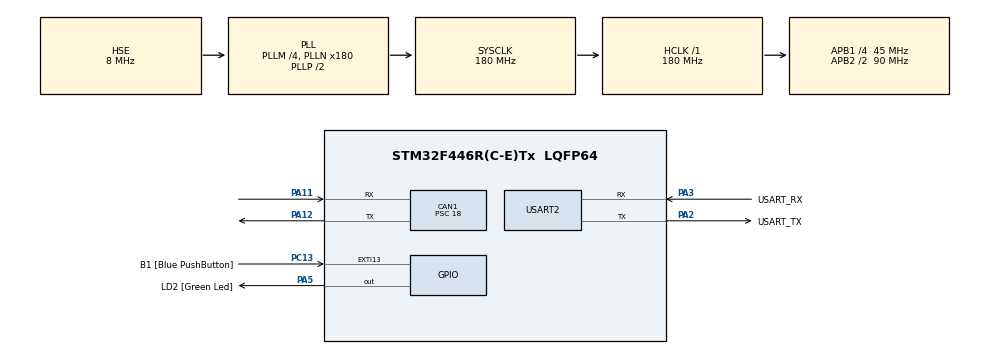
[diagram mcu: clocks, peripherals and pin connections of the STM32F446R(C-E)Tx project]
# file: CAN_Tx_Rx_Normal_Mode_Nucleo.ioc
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CAN1.BS1=CAN_BS1_2TQ
CAN1.BS2=CAN_BS2_2TQ
CAN1.CalculateBaudRate=500000
CAN1.CalculateTimeBit=2000
CAN1.CalculateTimeQuantum=400.0
CAN1.Prescaler=18
Mcu.Family=STM32F4
Mcu.Name=STM32F446R(C-E)Tx
Mcu.Package=LQFP64
NVIC.CAN1_RX0_IRQn=true\:0\:0\:false\:false\:true\:true\:true\:true
NVIC.CAN1_RX1_IRQn=true\:0\:0\:false\:false\:true\:true\:true\:true
NVIC.CAN1_TX_IRQn=true\:0\:0\:false\:false\:true\:true\:true\:true
NVIC.EXTI15_10_IRQn=true\:0\:0\:false\:false\:true\:true\:true\:true
NVIC.PriorityGroup=NVIC_PRIORITYGROUP_0
PA11.Mode=CAN_Activate
PA11.Signal=CAN1_RX
PA12.Mode=CAN_Activate
PA12.Signal=CAN1_TX
PA13.GPIO_Label=TMS
PA13.Mode=Serial_Wire
PA13.Signal=SYS_JTMS-SWDIO
PA14.GPIO_Label=TCK
PA14.Mode=Serial_Wire
PA14.Signal=SYS_JTCK-SWCLK
PA2.GPIO_Label=USART_TX
PA2.Mode=Asynchronous
PA2.Signal=USART2_TX
PA3.GPIO_Label=USART_RX
PA3.Mode=Asynchronous
PA3.Signal=USART2_RX
PA5.GPIO_Label=LD2 [Green Led]
PA5.Signal=GPIO_Output
PB3.GPIO_Label=SWO
PB3.Signal=SYS_JTDO-SWO
PC13.GPIO_Label=B1 [Blue PushButton]
PC13.GPIO_ModeDefaultEXTI=GPIO_MODE_IT_FALLING
PC13.Signal=GPXTI13
PC14-OSC32_IN.Mode=LSE-External-Oscillator
PC14-OSC32_IN.Signal=RCC_OSC32_IN
PC15-OSC32_OUT.Mode=LSE-External-Oscillator
PC15-OSC32_OUT.Signal=RCC_OSC32_OUT
PH0-OSC_IN.Mode=HSE-External-Oscillator
PH0-OSC_IN.Signal=RCC_OSC_IN
PH1-OSC_OUT.Mode=HSE-External-Oscillator
PH1-OSC_OUT.Signal=RCC_OSC_OUT
ProjectManager.HeapSize=0x200
ProjectManager.StackSize=0x400
ProjectManager.TargetToolchain=STM32CubeIDE
RCC.48MHZClocksFreq_Value=84000000
RCC.AHBFreq_Value=180000000
RCC.APB1CLKDivider=RCC_HCLK_DIV4
RCC.APB1Freq_Value=45000000
RCC.APB1TimFreq_Value=90000000
RCC.APB2CLKDivider=RCC_HCLK_DIV2
RCC.APB2Freq_Value=90000000
RCC.APB2TimFreq_Value=180000000
RCC.CortexFreq_Value=180000000
RCC.FLatency-AdvancedSettings=FLASH_LATENCY_5
RCC.HCLKFreq_Value=180000000
RCC.HSE_VALUE=8000000
RCC.HSI_VALUE=16000000
RCC.PLLM=4
RCC.PLLN=180
RCC.PLLSourceVirtual=RCC_PLLSOURCE_HSE
RCC.SYSCLKFreq_VALUE=180000000
RCC.SYSCLKSource=RCC_SYSCLKSOURCE_PLLCLK
RCC.USBFreq_Value=180000000
RCC.VCOOutputFreq_Value=360000000
USART2.VirtualMode=VM_ASYNC
board=NUCLEO-F446RE

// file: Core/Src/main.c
/* USER CODE BEGIN Header */
/**
  ******************************************************************************
  * @file           : main.c
  * @brief          : Main program body
  ******************************************************************************
  * @attention
  *
  * Copyright (c) 2025 STMicroelectronics.
  * All rights reserved.
  *
  * This software is licensed under terms that can be found in the LICENSE file
  * in the root directory of this software component.
  * If no LICENSE file comes with this software, it is provided AS-IS.
  *
  ******************************************************************************
  */
/* USER CODE END Header */
#include "main.h"

CAN_HandleTypeDef hcan1;

UART_HandleTypeDef huart2;

void SystemClock_Config(void);
static void MX_GPIO_Init(void);
static void MX_USART2_UART_Init(void);
static void MX_CAN1_Init(void);

/* USER CODE BEGIN 0 */
CAN_TxHeaderTypeDef TxHeader;
CAN_RxHeaderTypeDef RxHeader;

uint8_t TxData[8];
uint8_t RxData[8];

uint32_t TxMailbox;
int datacheck=0;

void HAL_CAN_RxFifo1FullCallback(CAN_HandleTypeDef *hcan)
{
    if (HAL_CAN_GetRxMessage(hcan, CAN_RX_FIFO1, &RxHeader, RxData) == HAL_OK)
    {
        datacheck = 1;  // Set flag only if the message is received successfully

    }
}
/* USER CODE END 0 */

int main(void)
{

  /* MCU Configuration--------------------------------------------------------*/

  /* Reset of all peripherals, Initializes the Flash interface and the Systick. */
  HAL_Init();

  /* Configure the system clock */
  SystemClock_Config();

  /* Initialize all configured peripherals */
  MX_GPIO_Init();
  MX_USART2_UART_Init();
  MX_CAN1_Init();
  /* USER CODE BEGIN 2 */
  HAL_CAN_Start(&hcan1); // Start CAN

  HAL_CAN_ActivateNotification(&hcan1, CAN_IT_RX_FIFO1_MSG_PENDING);

  TxHeader.DLC=1;  // Data length
  TxHeader.IDE=CAN_ID_STD;
  TxHeader.RTR=CAN_RTR_DATA;
  TxHeader.StdId=0x103;  // ID of this controller

  TxData[0]=50;// msg that being sent if we receive msg from 446

  /* USER CODE END 2 */

  /* Infinite loop */
  while (1)
  {

    /* USER CODE BEGIN 3 */

	  HAL_CAN_Start(&hcan1); // Start CAN

	    if(	HAL_CAN_AddTxMessage(&hcan1, &TxHeader, TxData, &TxMailbox) == HAL_OK){

	        datacheck = 0;  // Set flag only if the message is received successfully
	        HAL_GPIO_TogglePin(GPIOA, GPIO_PIN_5);  // Toggle LED
	        HAL_Delay(1000);  // Small delay for visibility
	        HAL_GPIO_TogglePin(GPIOA, GPIO_PIN_5);  // Toggle LED back
	        HAL_Delay(1000);

	    }

	  if(datacheck){

		        HAL_GPIO_TogglePin(GPIOA, GPIO_PIN_5);
		        HAL_Delay(100);
		        HAL_GPIO_TogglePin(GPIOA, GPIO_PIN_5);
		        HAL_Delay(100);

	    if(	HAL_CAN_AddTxMessage(&hcan1, &TxHeader, TxData, &TxMailbox) == HAL_OK){

	        datacheck = 0;  // Set flag only if the message is received successfully
	        HAL_GPIO_TogglePin(GPIOA, GPIO_PIN_5);  // Toggle LED
	        HAL_Delay(1000);  // Small delay for visibility
	        HAL_GPIO_TogglePin(GPIOA, GPIO_PIN_5);  // Toggle LED back
	        HAL_Delay(1000);

	    }

	    }
	  }

  /* USER CODE END 3 */
}

void SystemClock_Config(void)
{
  RCC_OscInitTypeDef RCC_OscInitStruct = {0};
  RCC_ClkInitTypeDef RCC_ClkInitStruct = {0};

  /** Configure the main internal regulator output voltage
  */
  __HAL_RCC_PWR_CLK_ENABLE();
  __HAL_PWR_VOLTAGESCALING_CONFIG(PWR_REGULATOR_VOLTAGE_SCALE1);

  /** Initializes the RCC Oscillators according to the specified parameters
  * in the RCC_OscInitTypeDef structure.
  */
  RCC_OscInitStruct.OscillatorType = RCC_OSCILLATORTYPE_HSE;
  RCC_OscInitStruct.HSEState = RCC_HSE_ON;
  RCC_OscInitStruct.PLL.PLLState = RCC_PLL_ON;
  RCC_OscInitStruct.PLL.PLLSource = RCC_PLLSOURCE_HSE;
  RCC_OscInitStruct.PLL.PLLM = 4;
  RCC_OscInitStruct.PLL.PLLN = 180;
  RCC_OscInitStruct.PLL.PLLP = RCC_PLLP_DIV2;
  RCC_OscInitStruct.PLL.PLLQ = 2;
  RCC_OscInitStruct.PLL.PLLR = 2;
  if (HAL_RCC_OscConfig(&RCC_OscInitStruct) != HAL_OK)
  {
    Error_Handler();
  }

  /** Activate the Over-Drive mode
  */
  if (HAL_PWREx_EnableOverDrive() != HAL_OK)
  {
    Error_Handler();
  }

  /** Initializes the CPU, AHB and APB buses clocks
  */
  RCC_ClkInitStruct.ClockType = RCC_CLOCKTYPE_HCLK|RCC_CLOCKTYPE_SYSCLK
                              |RCC_CLOCKTYPE_PCLK1|RCC_CLOCKTYPE_PCLK2;
  RCC_ClkInitStruct.SYSCLKSource = RCC_SYSCLKSOURCE_PLLCLK;
  RCC_ClkInitStruct.AHBCLKDivider = RCC_SYSCLK_DIV1;
  RCC_ClkInitStruct.APB1CLKDivider = RCC_HCLK_DIV4;
  RCC_ClkInitStruct.APB2CLKDivider = RCC_HCLK_DIV2;

  if (HAL_RCC_ClockConfig(&RCC_ClkInitStruct, FLASH_LATENCY_5) != HAL_OK)
  {
    Error_Handler();
  }
}

static void MX_CAN1_Init(void)
{

  hcan1.Instance = CAN1;
  hcan1.Init.Prescaler = 18;
  hcan1.Init.Mode = CAN_MODE_NORMAL;
  hcan1.Init.SyncJumpWidth = CAN_SJW_1TQ;
  hcan1.Init.TimeSeg1 = CAN_BS1_2TQ;
  hcan1.Init.TimeSeg2 = CAN_BS2_2TQ;
  hcan1.Init.TimeTriggeredMode = DISABLE;
  hcan1.Init.AutoBusOff = DISABLE;
  hcan1.Init.AutoWakeUp = DISABLE;
  hcan1.Init.AutoRetransmission = DISABLE;
  hcan1.Init.ReceiveFifoLocked = DISABLE;
  hcan1.Init.TransmitFifoPriority = DISABLE;
  if (HAL_CAN_Init(&hcan1) != HAL_OK)
  {
    Error_Handler();
  }
  /* USER CODE BEGIN CAN1_Init 2 */
  CAN_FilterTypeDef canfilterconfig;

    canfilterconfig.FilterActivation=CAN_FILTER_ENABLE;
    canfilterconfig.FilterBank=18;
    canfilterconfig.FilterFIFOAssignment=CAN_FILTER_FIFO1;
    canfilterconfig.FilterIdHigh=0x446<<5;
    canfilterconfig.FilterIdLow=0;
    canfilterconfig.FilterMaskIdHigh=0x446<<5;
    canfilterconfig.FilterMaskIdLow=0x0000;
    canfilterconfig.FilterMode=CAN_FILTERMODE_IDMASK;
    canfilterconfig.FilterScale=CAN_FILTERSCALE_32BIT;
    canfilterconfig.SlaveStartFilterBank=20;//doesnt matter

    HAL_CAN_ConfigFilter(&hcan1, &canfilterconfig);
  /* USER CODE END CAN1_Init 2 */

}

static void MX_USART2_UART_Init(void)
{

  huart2.Instance = USART2;
  huart2.Init.BaudRate = 115200;
  huart2.Init.WordLength = UART_WORDLENGTH_8B;
  huart2.Init.StopBits = UART_STOPBITS_1;
  huart2.Init.Parity = UART_PARITY_NONE;
  huart2.Init.Mode = UART_MODE_TX_RX;
  huart2.Init.HwFlowCtl = UART_HWCONTROL_NONE;
  huart2.Init.OverSampling = UART_OVERSAMPLING_16;
  if (HAL_UART_Init(&huart2) != HAL_OK)
  {
    Error_Handler();
  }

}

static void MX_GPIO_Init(void)
{
  GPIO_InitTypeDef GPIO_InitStruct = {0};

  /* GPIO Ports Clock Enable */
  __HAL_RCC_GPIOC_CLK_ENABLE();
  __HAL_RCC_GPIOH_CLK_ENABLE();
  __HAL_RCC_GPIOA_CLK_ENABLE();
  __HAL_RCC_GPIOB_CLK_ENABLE();

  /*Configure GPIO pin Output Level */
  HAL_GPIO_WritePin(LD2_GPIO_Port, LD2_Pin, GPIO_PIN_RESET);

  /*Configure GPIO pin : B1_Pin */
  GPIO_InitStruct.Pin = B1_Pin;
  GPIO_InitStruct.Mode = GPIO_MODE_IT_FALLING;
  GPIO_InitStruct.Pull = GPIO_NOPULL;
  HAL_GPIO_Init(B1_GPIO_Port, &GPIO_InitStruct);

  /*Configure GPIO pin : LD2_Pin */
  GPIO_InitStruct.Pin = LD2_Pin;
  GPIO_InitStruct.Mode = GPIO_MODE_OUTPUT_PP;
  GPIO_InitStruct.Pull = GPIO_NOPULL;
  GPIO_InitStruct.Speed = GPIO_SPEED_FREQ_LOW;
  HAL_GPIO_Init(LD2_GPIO_Port, &GPIO_InitStruct);

  /* EXTI interrupt init*/
  HAL_NVIC_SetPriority(EXTI15_10_IRQn, 0, 0);
  HAL_NVIC_EnableIRQ(EXTI15_10_IRQn);

}

void Error_Handler(void)
{
  __disable_irq();
  while (1)
  {
  }
}
